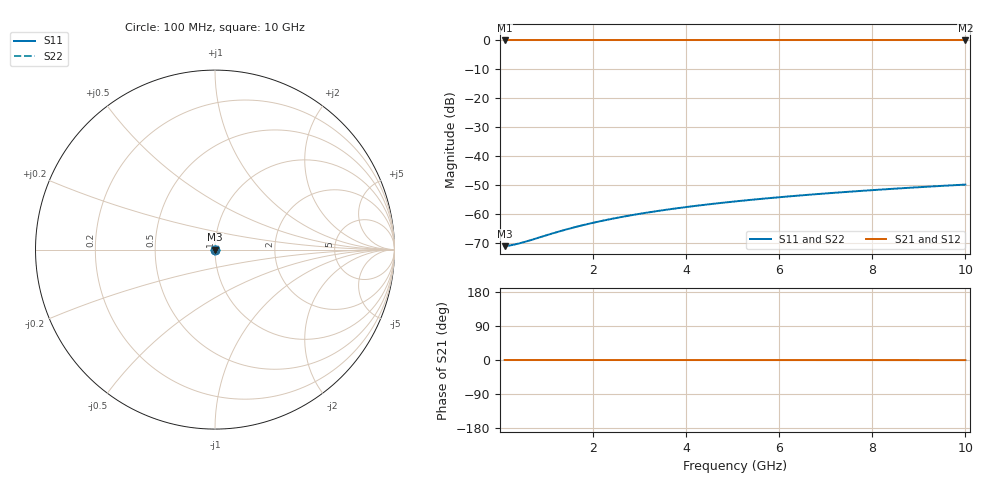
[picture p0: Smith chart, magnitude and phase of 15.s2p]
# Hz S RI R 50.00
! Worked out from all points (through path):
!   100 points, 100 MHz to 10 GHz, reference 50 ohm
!   highest |S21| = 0.00 dB at 100 MHz (marker M1); lowest = 0.0 dB at 10 GHz (marker M2)
!   lowest |S11| = -71.2 dB at 100 MHz (marker M3), VSWR 1.00, Z = 50 + j0.00319 ohm
!   |S11| at or under -10 dB: start of sweep to end of sweep
!   |S22| runs from -71.2 to -49.9 dB; largest |S21 - S12| = 0
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1e8  0.000274 3.19e-05  0.9997 -4.72e-05  0.9997 -4.72e-05  0.000274 3.19e-05
2e8  0.000276 6.37e-05  0.9997 -9.43e-05  0.9997 -9.43e-05  0.000276 6.37e-05
3e8  0.000277 9.56e-05  0.9997 -0.000141  0.9997 -0.000141  0.000277 9.56e-05
4e8  0.000278 0.000127  0.9997 -0.000189  0.9997 -0.000189  0.000278 0.000127
5e8  0.000279 0.000159  0.9997 -0.000236  0.9997 -0.000236  0.000279 0.000159
1.3e9  0.000284 0.000414  0.9997 -0.000613  0.9997 -0.000613  0.000284 0.000414
1.5e9  0.000285 0.000478  0.9997 -0.000707  0.9997 -0.000707  0.000285 0.000478
1.8e9  0.000286 0.000574  0.9997 -0.000849  0.9997 -0.000849  0.000286 0.000574
2.1e9  0.000287 0.000669  0.9997 -0.00099  0.9997 -0.00099  0.000287 0.000669
2.5e9  0.000289 0.000797  0.9997 -0.00118  0.9997 -0.00118  0.000289 0.000797
2.9e9  0.00029 0.000924  0.9997 -0.00137  0.9997 -0.00137  0.00029 0.000924
3.4e9  0.000292 0.00108  0.9997 -0.0016  0.9997 -0.0016  0.000292 0.00108
3.8e9  0.000294 0.00121  0.9997 -0.00179  0.9997 -0.00179  0.000294 0.00121
4.2e9  0.000295 0.00134  0.9997 -0.00198  0.9997 -0.00198  0.000295 0.00134
4.6e9  0.000296 0.00147  0.9997 -0.00217  0.9997 -0.00217  0.000296 0.00147
5.1e9  0.000298 0.00163  0.9997 -0.00241  0.9997 -0.00241  0.000298 0.00163
5.9e9  0.000301 0.00188  0.9997 -0.00278  0.9997 -0.00278  0.000301 0.00188
6.7e9  0.000304 0.00214  0.9997 -0.00316  0.9997 -0.00316  0.000304 0.00214
7.5e9  0.000307 0.00239  0.9997 -0.00354  0.9997 -0.00354  0.000307 0.00239
8.4e9  0.000311 0.00268  0.9997 -0.00396  0.9997 -0.00396  0.000311 0.00268
9.2e9  0.000315 0.00293  0.9997 -0.00434  0.9997 -0.00434  0.000315 0.00293
1e10  0.000319 0.00319  0.9997 -0.00472  0.9997 -0.00472  0.000319 0.00319
